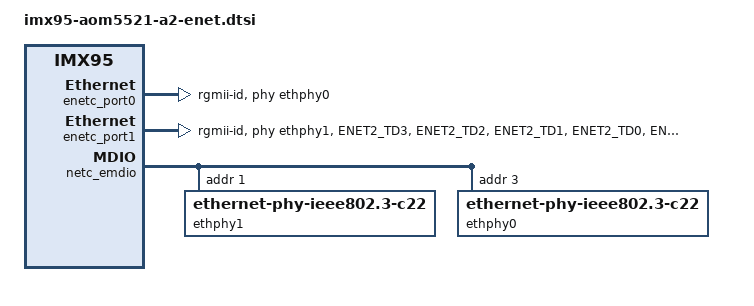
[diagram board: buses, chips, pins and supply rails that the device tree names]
/ {
	aliases {
		/* ethernet0,1 swap */
		ethernet0 = &enetc_port1;
		ethernet1 = &enetc_port0;
	};
};

&enetc_port0 {
	pinctrl-names = "default";
	pinctrl-0 = <&pinctrl_enetc0>;
	phy-handle = <&ethphy0>;
	phy-mode = "rgmii-id";
	if-name = "eth1"; /* ethernet0,1 swap */
	status = "okay";
};

&enetc_port1 {
	pinctrl-names = "default";
	pinctrl-0 = <&pinctrl_enetc1>;
	phy-handle = <&ethphy1>;
	phy-mode = "rgmii-id";
	if-name = "eth0"; /* ethernet0,1 swap */
	status = "okay";
};

&netc_emdio {
	ethphy1: ethernet-phy@1 {
		compatible = "ethernet-phy-ieee802.3-c22";
		reg = <1>;
		eee-broken-1000t;
	};

	ethphy0: ethernet-phy@3 {
		compatible = "ethernet-phy-ieee802.3-c22";
		reg = <3>;
		eee-broken-1000t;
	};
};

&scmi_iomuxc {
	pinctrl_enetc1: enetc1grp {
		fsl,pins = <
			IMX95_PAD_ENET2_TD3__NETCMIX_TOP_ETH1_RGMII_TD3		0x57e
			IMX95_PAD_ENET2_TD2__NETCMIX_TOP_ETH1_RGMII_TD2		0x57e
			IMX95_PAD_ENET2_TD1__NETCMIX_TOP_ETH1_RGMII_TD1		0x57e
			IMX95_PAD_ENET2_TD0__NETCMIX_TOP_ETH1_RGMII_TD0		0x57e
			IMX95_PAD_ENET2_TX_CTL__NETCMIX_TOP_ETH1_RGMII_TX_CTL	0x57e
			IMX95_PAD_ENET2_TXC__NETCMIX_TOP_ETH1_RGMII_TX_CLK	0x5fe
			IMX95_PAD_ENET2_RX_CTL__NETCMIX_TOP_ETH1_RGMII_RX_CTL	0x57e
			IMX95_PAD_ENET2_RXC__NETCMIX_TOP_ETH1_RGMII_RX_CLK	0x5fe
			IMX95_PAD_ENET2_RD0__NETCMIX_TOP_ETH1_RGMII_RD0		0x57e
			IMX95_PAD_ENET2_RD1__NETCMIX_TOP_ETH1_RGMII_RD1		0x57e
			IMX95_PAD_ENET2_RD2__NETCMIX_TOP_ETH1_RGMII_RD2		0x57e
			IMX95_PAD_ENET2_RD3__NETCMIX_TOP_ETH1_RGMII_RD3		0x57e
		>;
	};
};
